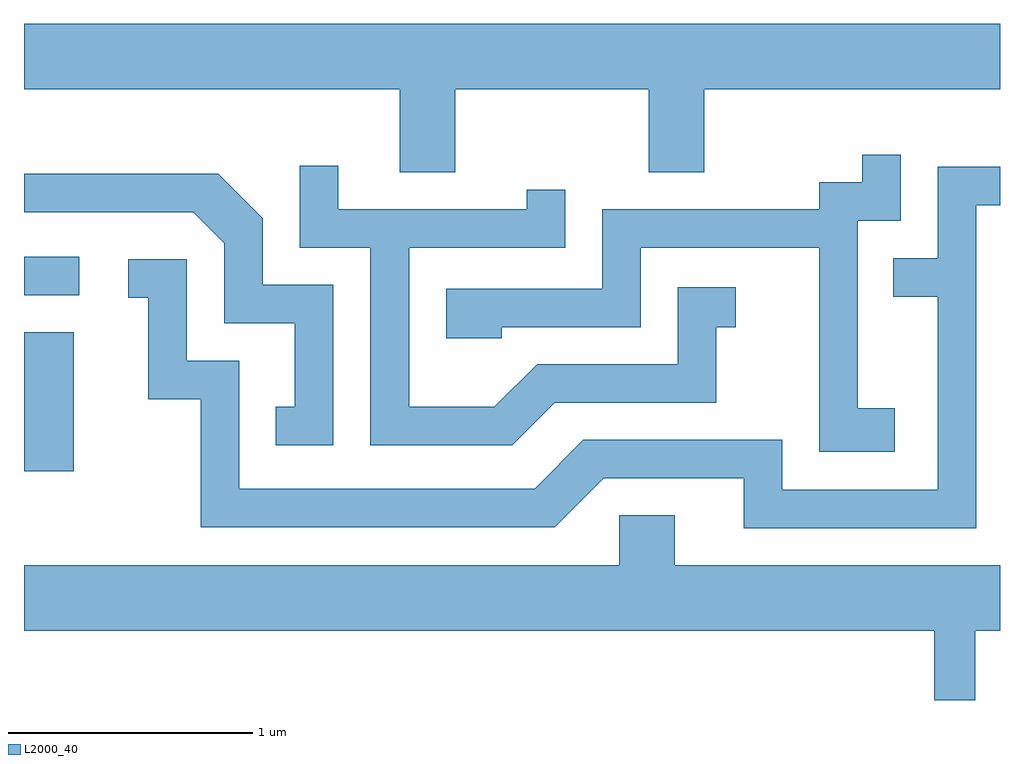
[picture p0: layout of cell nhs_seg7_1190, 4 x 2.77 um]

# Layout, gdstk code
import gdstk
lib = gdstk.Library(unit=1e-6, precision=1e-09)
def R(c, l, rs):  # rectangles x0, y0, x1, y1
    for r in rs: c.add(gdstk.rectangle(r[:2], r[2:], *l))
def P(c, l, *ps):  # polygons
    for p in ps: c.add(gdstk.Polygon(p, *l))
L2000_40 = (2000, 40)

nhs_seg7_1190 = lib.new_cell('nhs_seg7_1190')
R(nhs_seg7_1190, L2000_40, [(221.611,1717.191,221.814,1717.759), (221.611,1717.911,221.838,1718.069)])
P(nhs_seg7_1190, L2000_40, [(223.379,1718.756),(224.171,1718.756),(224.171,1718.416),(224.399,1718.416),(224.399,1718.756),(225.611,1718.756),(225.611,1719.024),(221.611,1719.024),(221.611,1718.756),(223.151,1718.756),(223.151,1718.416),(223.379,1718.416)],
  [(225.179,1717.449),(225.029,1717.449),(225.029,1718.216),(225.204,1718.216),(225.204,1718.488),(225.046,1718.488),(225.046,1718.374),(224.871,1718.374),(224.871,1718.264),(223.981,1718.264),(223.981,1717.939),(223.341,1717.939),(223.341,1717.736),(223.569,1717.736),(223.569,1717.781),(224.139,1717.781),(224.139,1718.106),(224.871,1718.106),(224.871,1717.271),(225.179,1717.271)],
  [(223.787,1717.471),(224.449,1717.471),(224.449,1717.781),(224.528,1717.781),(224.528,1717.944),(224.291,1717.944),(224.291,1717.629),(223.714,1717.629),(223.539,1717.454),(223.189,1717.454),(223.189,1718.106),(223.829,1718.106),(223.829,1718.343),(223.671,1718.343),(223.671,1718.264),(222.899,1718.264),(222.899,1718.443),(222.741,1718.443),(222.741,1718.106),(223.031,1718.106),(223.031,1717.296),(223.612,1717.296)],
  [(225.514,1718.281),(225.611,1718.281),(225.611,1718.439),(225.356,1718.439),(225.356,1718.064),(225.173,1718.064),(225.173,1717.906),(225.356,1717.906),(225.356,1717.114),(224.719,1717.114),(224.719,1717.319),(223.904,1717.319),(223.704,1717.119),(222.494,1717.119),(222.494,1717.644),(222.279,1717.644),(222.279,1718.059),(222.038,1718.059),(222.038,1717.901),(222.121,1717.901),(222.121,1717.486),(222.336,1717.486),(222.336,1716.961),(223.787,1716.961),(223.987,1717.161),(224.561,1717.161),(224.561,1716.956),(225.514,1716.956)],
  [(222.879,1717.954),(222.589,1717.954),(222.589,1718.227),(222.407,1718.409),(221.611,1718.409),(221.611,1718.251),(222.304,1718.251),(222.431,1718.124),(222.431,1717.796),(222.721,1717.796),(222.721,1717.454),(222.643,1717.454),(222.643,1717.296),(222.879,1717.296)],
  [(225.509,1716.536),(225.611,1716.536),(225.611,1716.804),(224.279,1716.804),(224.279,1717.009),(224.051,1717.009),(224.051,1716.804),(221.611,1716.804),(221.611,1716.536),(225.341,1716.536),(225.341,1716.252),(225.509,1716.252)])

lib.write_gds('nhs_seg7_1190.gds')
